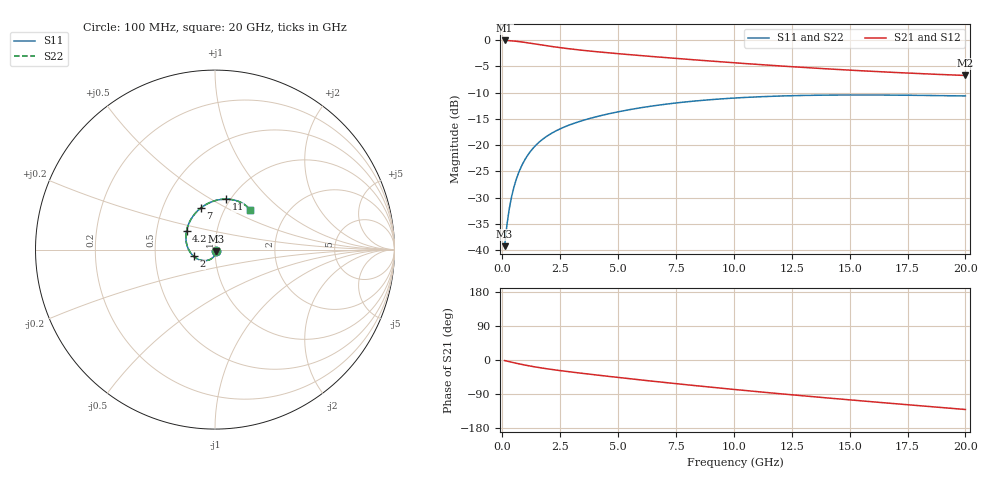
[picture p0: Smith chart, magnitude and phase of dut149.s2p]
! Touchstone file exported from HFSS 2024.1.0
!  File:  C:/UserFiles/LocalFiles/RDL_TSV_Batchsim/temp_RDL_TSV_149_1779431642.aedt
!  Generated:  02:45:03 PM May 22, 2026
!  Design:  RDL_TSV
!  Project:  temp_RDL_TSV_149_1779431642
!  Setup:  Setup1
!  Solution:  Sweep
! Variables:
!  dtsv = 14.14um
!  hbump = 3um
!  htsv = 88.28um
!  ldown = 133.3um
!  lrdl = 247.75um
!  p = 40
!  p1 = 51.94um
!  rhole = 10um
!  subl = 1390.9um
!  t = 450um
!  tdown = 4.23um
!  trdl = 3.11um
!  viad = 10um
!  wdown = 27.4um
!  wrdl = 19.9um
!  xbump = 18um
# GHz S MA R 50.000000
! Terminal data exported
! Port[1] = TM1_1_T1
! Port[2] = TM1_4_T1
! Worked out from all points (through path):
!   200 points, 100 MHz to 20 GHz, reference 50 ohm
!   highest |S21| = -0.07 dB at 100 MHz (marker M1); lowest = -6.7 dB at 20 GHz (marker M2)
!   group delay of S21, straight-line fit = 16.9 ps
!   lowest |S11| = -39.2 dB at 100 MHz (marker M3), VSWR 1.02, Z = 50.7 - j0.835 ohm
!   |S11| at or under -10 dB: start of sweep to end of sweep
!   |S22| runs from -39.2 to -10.5 dB; largest |S21 - S12| = 1e-14
!   S11 on the Smith chart (normalised r, x): 100 MHz: 1.01, -0.02; 2 GHz: 0.79, -0.06; 4.2 GHz: 0.71, +0.15; 7 GHz: 0.77, +0.38; 11 GHz: 0.95, +0.59; 20 GHz: 1.31, +0.63
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0.1  0.0109 -49.0  0.9917 -1.5  0.9917 -1.5  0.0109 -49.0
! Gamma 0 0 0 0
! Port Impedance 50 0 50 0
0.2  0.01737 -71.3  0.9898 -3.0  0.9898 -3.0  0.01737 -71.3
0.3  0.02466 -83.6  0.987 -4.4  0.987 -4.4  0.02466 -83.6
0.4  0.03215 -92.3  0.9834 -5.8  0.9834 -5.8  0.03215 -92.3
0.5  0.03963 -99.4  0.9791 -7.2  0.9791 -7.2  0.03963 -99.4
0.7  0.05412 -111.0  0.9684 -9.9  0.9684 -9.9  0.05413 -111.0
0.9  0.06772 -121.0  0.9557 -12.4  0.9557 -12.4  0.06772 -121.0
1.2  0.08614 -134.2  0.9345 -16.0  0.9345 -16.0  0.08614 -134.2
1.6  0.1071 -149.3  0.9053 -20.1  0.9053 -20.1  0.1071 -149.3
2  0.1246 -162.5  0.8777 -23.8  0.8777 -23.8  0.1246 -162.5
2.7  0.1494 178.1  0.836 -29.6  0.836 -29.6  0.1494 178.1
3.5  0.1722 160.0  0.7977 -35.5  0.7977 -35.5  0.1722 160.0
4.2  0.1896 146.9  0.7699 -40.5  0.7699 -40.5  0.1896 146.9
5.5  0.2176 127.0  0.7261 -49.4  0.7261 -49.4  0.2176 127.0
6.8  0.2411 111.4  0.688 -58.0  0.688 -58.0  0.241 111.4
7  0.2443 109.2  0.6825 -59.2  0.6825 -59.2  0.2442 109.2
8.5  0.2651 95.3  0.6434 -68.7  0.6434 -68.7  0.2651 95.3
10.1  0.2813 83.3  0.606 -78.3  0.606 -78.3  0.2812 83.3
11  0.2879 77.7  0.5868 -83.5  0.5868 -83.5  0.2878 77.7
13.4  0.298 65.7  0.5421 -96.7  0.5421 -96.7  0.2979 65.7
16.7  0.2994 54.6  0.4947 -114.0  0.4947 -114.0  0.2993 54.6
20  0.2937 48.4  0.4603 -130.6  0.4603 -130.6  0.2936 48.4
